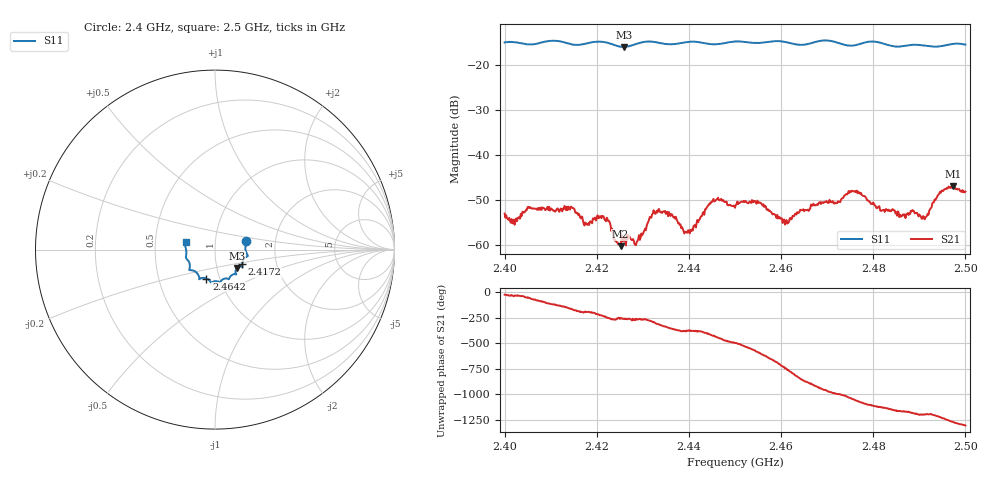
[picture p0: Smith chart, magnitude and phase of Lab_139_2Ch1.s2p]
# Hz S RI R 50
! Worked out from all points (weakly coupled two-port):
!   601 points, 2.4 GHz to 2.5 GHz, reference 50 ohm
!   highest |S21| = -46.98 dB at 2.4973 GHz (marker M1); lowest = -60.3 dB at 2.4252 GHz (marker M2)
!   lowest |S11| = -16.0 dB at 2.4258 GHz (marker M3), VSWR 1.38, Z = 62.3 - j13.1 ohm
!   |S11| at or under -10 dB: start of sweep to end of sweep
!   S12 and S22 are empty: the file has one direction only
!   S11 on the Smith chart (normalised r, x): 2.4 GHz: 1.41, +0.14; 2.4172 GHz: 1.34, -0.22; 2.4642 GHz: 0.87, -0.29; 2.5 GHz: 0.72, +0.06
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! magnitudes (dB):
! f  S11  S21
! 2.4 GHz  -15.0  -53.0
! 2.4143 GHz  -15.4  -51.5
! 2.4167 GHz  -15.4  -53.7
! 2.4172 GHz  -15.3  -55.3
! 2.4217 GHz  -14.9  -54.3
! 2.4252 GHz  -15.9  -60.3
! 2.4258 GHz  -16.0  -59.0
! 2.4288 GHz  -15.2  -59.1
! 2.4333 GHz  -15.0  -52.2
! 2.4397 GHz  -14.9  -57.3
! 2.445 GHz  -15.4  -50.5
! 2.45 GHz  -14.8  -51.7
! 2.4553 GHz  -15.1  -50.6
! 2.4612 GHz  -14.9  -54.5
! 2.4642 GHz  -15.5  -52.2
! 2.4667 GHz  -15.1  -51.2
! 2.476 GHz  -15.6  -48.2
! 2.4833 GHz  -15.6  -52.2
! 2.491 GHz  -15.7  -53.7
! 2.4945 GHz  -15.8  -48.2
! 2.4973 GHz  -15.3  -47.0
! 2.5 GHz  -15.4  -48.1
